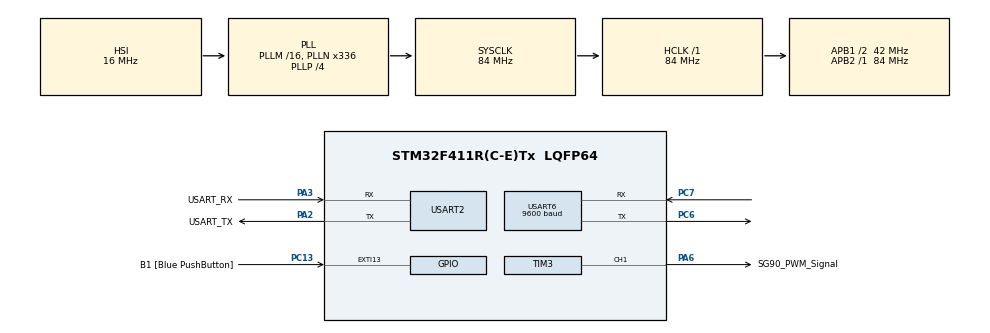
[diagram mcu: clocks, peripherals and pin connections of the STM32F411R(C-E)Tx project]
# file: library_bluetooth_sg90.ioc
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Mcu.Family=STM32F4
Mcu.Name=STM32F411R(C-E)Tx
Mcu.Package=LQFP64
NVIC.PriorityGroup=NVIC_PRIORITYGROUP_0
NVIC.USART2_IRQn=true\:0\:0\:false\:false\:true\:true\:true\:true
NVIC.USART6_IRQn=true\:0\:0\:false\:false\:true\:true\:true\:true
PA13.GPIO_Label=TMS
PA13.Mode=Serial_Wire
PA13.Signal=SYS_JTMS-SWDIO
PA14.GPIO_Label=TCK
PA14.Mode=Serial_Wire
PA14.Signal=SYS_JTCK-SWCLK
PA2.GPIO_Label=USART_TX
PA2.Mode=Asynchronous
PA2.Signal=USART2_TX
PA3.GPIO_Label=USART_RX
PA3.Mode=Asynchronous
PA3.Signal=USART2_RX
PA6.GPIO_Label=SG90_PWM_Signal
PA6.Signal=S_TIM3_CH1
PB3.GPIO_Label=SWO
PB3.Signal=SYS_JTDO-SWO
PC13-ANTI_TAMP.GPIO_Label=B1 [Blue PushButton]
PC13-ANTI_TAMP.GPIO_ModeDefaultEXTI=GPIO_MODE_IT_FALLING
PC13-ANTI_TAMP.Signal=GPXTI13
PC14-OSC32_IN.Mode=LSE-External-Oscillator
PC14-OSC32_IN.Signal=RCC_OSC32_IN
PC15-OSC32_OUT.Mode=LSE-External-Oscillator
PC15-OSC32_OUT.Signal=RCC_OSC32_OUT
PC6.Mode=Asynchronous
PC6.Signal=USART6_TX
PC7.Mode=Asynchronous
PC7.Signal=USART6_RX
PH0\ -\ OSC_IN.Mode=HSE-External-Clock-Source
PH0\ -\ OSC_IN.Signal=RCC_OSC_IN
PH1\ -\ OSC_OUT.Mode=HSE-External-Clock-Source
PH1\ -\ OSC_OUT.Signal=RCC_OSC_OUT
ProjectManager.HeapSize=0x200
ProjectManager.StackSize=0x400
ProjectManager.TargetToolchain=STM32CubeIDE
RCC.48MHZClocksFreq_Value=84000000
RCC.AHBFreq_Value=84000000
RCC.APB1CLKDivider=RCC_HCLK_DIV2
RCC.APB1Freq_Value=42000000
RCC.APB1TimFreq_Value=84000000
RCC.APB2Freq_Value=84000000
RCC.APB2TimFreq_Value=84000000
RCC.CortexFreq_Value=84000000
RCC.FLatency-AdvancedSettings=FLASH_LATENCY_2
RCC.HCLKFreq_Value=84000000
RCC.HSE_VALUE=8000000
RCC.HSI_VALUE=16000000
RCC.PLLN=336
RCC.PLLP=RCC_PLLP_DIV4
RCC.SYSCLKFreq_VALUE=84000000
RCC.SYSCLKSource=RCC_SYSCLKSOURCE_PLLCLK
RCC.VCOOutputFreq_Value=336000000
SH.S_TIM3_CH1.0=TIM3_CH1,PWM Generation1 CH1
TIM3.Channel-PWM\ Generation1\ CH1=TIM_CHANNEL_1
TIM3.Period=19999
TIM3.Prescaler=83
USART2.VirtualMode=VM_ASYNC
USART6.BaudRate=9600
USART6.VirtualMode=VM_ASYNC
VP_TIM3_VS_ClockSourceINT.Mode=Internal
board=NUCLEO-F411RE

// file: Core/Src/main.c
/* USER CODE BEGIN Header */
/**
  ******************************************************************************
  * @file           : main.c
  * @brief          : Main program body
  ******************************************************************************
  * @attention
  *
  * Copyright (c) 2024 STMicroelectronics.
  * All rights reserved.
  *
  * This software is licensed under terms that can be found in the LICENSE file
  * in the root directory of this software component.
  * If no LICENSE file comes with this software, it is provided AS-IS.
  *
  ******************************************************************************
  */
/* USER CODE END Header */
#include "main.h"

/* USER CODE BEGIN Includes */
#include <stdio.h>
#include <string.h>
/* USER CODE END Includes */

/* USER CODE BEGIN PD */
#ifdef __GNUC__
/* With GCC, small printf (option LD Linker->Libraries->Small printf
   set to 'Yes') calls __io_putchar() */
#define PUTCHAR_PROTOTYPE int __io_putchar(int ch)
#else
#define PUTCHAR_PROTOTYPE int fputc(int ch, FILE *f)
#endif /* __GNUC__ */
#define ARR_CNT 5
#define CMD_SIZE 50

/* USER CODE END PD */

TIM_HandleTypeDef htim3;

UART_HandleTypeDef huart2;
UART_HandleTypeDef huart6;

/* USER CODE BEGIN PV */
uint8_t rx2char;
volatile unsigned char rx2Flag = 0;
volatile char rx2Data[50];
volatile unsigned char btFlag = 0;
uint8_t btchar;
char btData[50];
/* USER CODE END PV */

void SystemClock_Config(void);
static void MX_GPIO_Init(void);
static void MX_USART2_UART_Init(void);
static void MX_USART6_UART_Init(void);
static void MX_TIM3_Init(void);
/* USER CODE BEGIN PFP */
void bluetooth_Event();
void SG90_SetAngle(int angle);
/* USER CODE END PFP */

int main(void)
{

  /* MCU Configuration--------------------------------------------------------*/

  /* Reset of all peripherals, Initializes the Flash interface and the Systick. */
  HAL_Init();

  /* Configure the system clock */
  SystemClock_Config();

  /* Initialize all configured peripherals */
  MX_GPIO_Init();
  MX_USART2_UART_Init();
  MX_USART6_UART_Init();
  MX_TIM3_Init();
  /* USER CODE BEGIN 2 */
  HAL_UART_Receive_IT(&huart2, &rx2char,1);
  HAL_UART_Receive_IT(&huart6, &btchar,1);
  HAL_TIM_PWM_Start(&htim3, TIM_CHANNEL_1); // ADDED: PWM 시작
  printf("start main2()\r\n");
//  char buf[10] = "Hello\r";
  /* USER CODE END 2 */

  /* Infinite loop */
  /* USER CODE BEGIN WHILE */
  while (1)
  {
	  if(rx2Flag)
	  {
			printf("recv2 : %s\r\n",rx2Data);
			rx2Flag =0;
	//	    HAL_UART_Transmit(&huart6, (uint8_t *)buf, strlen(buf), 0xFFFF);
	  }
	  if(btFlag)
	  {
//		printf("bt : %s\r\n",btData);
			btFlag =0;
			bluetooth_Event();
	  }
//	  HAL_GPIO_TogglePin(GPIOC, GPIO_PIN_13);
//	  HAL_Delay(500);

    /* USER CODE END WHILE */

  }
}

void SystemClock_Config(void)
{
  RCC_OscInitTypeDef RCC_OscInitStruct = {0};
  RCC_ClkInitTypeDef RCC_ClkInitStruct = {0};

  /** Configure the main internal regulator output voltage
  */
  __HAL_RCC_PWR_CLK_ENABLE();
  __HAL_PWR_VOLTAGESCALING_CONFIG(PWR_REGULATOR_VOLTAGE_SCALE1);

  /** Initializes the RCC Oscillators according to the specified parameters
  * in the RCC_OscInitTypeDef structure.
  */
  RCC_OscInitStruct.OscillatorType = RCC_OSCILLATORTYPE_HSI;
  RCC_OscInitStruct.HSIState = RCC_HSI_ON;
  RCC_OscInitStruct.HSICalibrationValue = RCC_HSICALIBRATION_DEFAULT;
  RCC_OscInitStruct.PLL.PLLState = RCC_PLL_ON;
  RCC_OscInitStruct.PLL.PLLSource = RCC_PLLSOURCE_HSI;
  RCC_OscInitStruct.PLL.PLLM = 16;
  RCC_OscInitStruct.PLL.PLLN = 336;
  RCC_OscInitStruct.PLL.PLLP = RCC_PLLP_DIV4;
  RCC_OscInitStruct.PLL.PLLQ = 4;
  if (HAL_RCC_OscConfig(&RCC_OscInitStruct) != HAL_OK)
  {
    Error_Handler();
  }

  /** Initializes the CPU, AHB and APB buses clocks
  */
  RCC_ClkInitStruct.ClockType = RCC_CLOCKTYPE_HCLK|RCC_CLOCKTYPE_SYSCLK
                              |RCC_CLOCKTYPE_PCLK1|RCC_CLOCKTYPE_PCLK2;
  RCC_ClkInitStruct.SYSCLKSource = RCC_SYSCLKSOURCE_PLLCLK;
  RCC_ClkInitStruct.AHBCLKDivider = RCC_SYSCLK_DIV1;
  RCC_ClkInitStruct.APB1CLKDivider = RCC_HCLK_DIV2;
  RCC_ClkInitStruct.APB2CLKDivider = RCC_HCLK_DIV1;

  if (HAL_RCC_ClockConfig(&RCC_ClkInitStruct, FLASH_LATENCY_2) != HAL_OK)
  {
    Error_Handler();
  }
}

static void MX_TIM3_Init(void)
{

  TIM_ClockConfigTypeDef sClockSourceConfig = {0};
  TIM_MasterConfigTypeDef sMasterConfig = {0};
  TIM_OC_InitTypeDef sConfigOC = {0};

  htim3.Instance = TIM3;
  htim3.Init.Prescaler = 83;
  htim3.Init.CounterMode = TIM_COUNTERMODE_UP;
  htim3.Init.Period = 19999;
  htim3.Init.ClockDivision = TIM_CLOCKDIVISION_DIV1;
  htim3.Init.AutoReloadPreload = TIM_AUTORELOAD_PRELOAD_DISABLE;
  if (HAL_TIM_Base_Init(&htim3) != HAL_OK)
  {
    Error_Handler();
  }
  sClockSourceConfig.ClockSource = TIM_CLOCKSOURCE_INTERNAL;
  if (HAL_TIM_ConfigClockSource(&htim3, &sClockSourceConfig) != HAL_OK)
  {
    Error_Handler();
  }
  if (HAL_TIM_PWM_Init(&htim3) != HAL_OK)
  {
    Error_Handler();
  }
  sMasterConfig.MasterOutputTrigger = TIM_TRGO_RESET;
  sMasterConfig.MasterSlaveMode = TIM_MASTERSLAVEMODE_DISABLE;
  if (HAL_TIMEx_MasterConfigSynchronization(&htim3, &sMasterConfig) != HAL_OK)
  {
    Error_Handler();
  }
  sConfigOC.OCMode = TIM_OCMODE_PWM1;
  sConfigOC.Pulse = 0;
  sConfigOC.OCPolarity = TIM_OCPOLARITY_HIGH;
  sConfigOC.OCFastMode = TIM_OCFAST_DISABLE;
  if (HAL_TIM_PWM_ConfigChannel(&htim3, &sConfigOC, TIM_CHANNEL_1) != HAL_OK)
  {
    Error_Handler();
  }
  HAL_TIM_MspPostInit(&htim3);

}

static void MX_USART2_UART_Init(void)
{

  huart2.Instance = USART2;
  huart2.Init.BaudRate = 115200;
  huart2.Init.WordLength = UART_WORDLENGTH_8B;
  huart2.Init.StopBits = UART_STOPBITS_1;
  huart2.Init.Parity = UART_PARITY_NONE;
  huart2.Init.Mode = UART_MODE_TX_RX;
  huart2.Init.HwFlowCtl = UART_HWCONTROL_NONE;
  huart2.Init.OverSampling = UART_OVERSAMPLING_16;
  if (HAL_UART_Init(&huart2) != HAL_OK)
  {
    Error_Handler();
  }

}

static void MX_USART6_UART_Init(void)
{

  huart6.Instance = USART6;
  huart6.Init.BaudRate = 9600;
  huart6.Init.WordLength = UART_WORDLENGTH_8B;
  huart6.Init.StopBits = UART_STOPBITS_1;
  huart6.Init.Parity = UART_PARITY_NONE;
  huart6.Init.Mode = UART_MODE_TX_RX;
  huart6.Init.HwFlowCtl = UART_HWCONTROL_NONE;
  huart6.Init.OverSampling = UART_OVERSAMPLING_16;
  if (HAL_UART_Init(&huart6) != HAL_OK)
  {
    Error_Handler();
  }

}

static void MX_GPIO_Init(void)
{
  GPIO_InitTypeDef GPIO_InitStruct = {0};

  /* GPIO Ports Clock Enable */
  __HAL_RCC_GPIOC_CLK_ENABLE();
  __HAL_RCC_GPIOH_CLK_ENABLE();
  __HAL_RCC_GPIOA_CLK_ENABLE();
  __HAL_RCC_GPIOB_CLK_ENABLE();

  /*Configure GPIO pin : B1_Pin */
  GPIO_InitStruct.Pin = B1_Pin;
  GPIO_InitStruct.Mode = GPIO_MODE_IT_FALLING;
  GPIO_InitStruct.Pull = GPIO_NOPULL;
  HAL_GPIO_Init(B1_GPIO_Port, &GPIO_InitStruct);

}

/* USER CODE BEGIN 4 */

void SG90_SetAngle(int angle)
{
    float pulse_width = ((float)angle / 180.0f) * 2000.0f + 500.0f;
    __HAL_TIM_SET_COMPARE(&htim3, TIM_CHANNEL_1, (uint32_t)pulse_width);
}

void bluetooth_Event()
{

  int i=0;
  char * pToken;
  char * pArray[ARR_CNT]={0};
  char recvBuf[CMD_SIZE]={0};
  char sendBuf[CMD_SIZE]={0};
  strcpy(recvBuf,btData);

  printf("btData : %s\r\n",btData);

  pToken = strtok(recvBuf,"[@]");
  while(pToken != NULL)
  {
    pArray[i] =  pToken;
    if(++i >= ARR_CNT)
      break;
    pToken = strtok(NULL,"[@]");
  }
//  printf("pArray[0] : %s\r\n",pArray[0]);
//  printf("pArray[1] : %s\r\n",pArray[1]);
//  printf("pArray[2] : %s\r\n",pArray[2]);

  if (!strcmp(pArray[1], "DOOR"))
   {
       if (!strcmp(pArray[2], "OPEN"))
       {
           SG90_SetAngle(0); //

       }
       else if(!strcmp(pArray[2], "CLOSE"))
       {
    	   SG90_SetAngle(150); //
       }
   }

  else if(!strncmp(pArray[1]," New conn",sizeof(" New conn")))
  {
      return;
  }
  else if(!strncmp(pArray[1]," Already log",sizeof(" Already log")))
  {
      return;
  }
  else
      return;

  sprintf(sendBuf,"[%s]%s@%s\n",pArray[0],pArray[1],pArray[2]);
  HAL_UART_Transmit(&huart6, (uint8_t *)sendBuf, strlen(sendBuf), 0xFFFF);

}
/**
  * @brief  Retargets the C library printf function to the USART.
  * @param  None
  * @retval None
  */
PUTCHAR_PROTOTYPE
{
  /* Place your implementation of fputc here */
  /* e.g. write a character to the USART6 and Loop until the end of transmission */
  HAL_UART_Transmit(&huart2, (uint8_t *)&ch, 1, 0xFFFF);

  return ch;
}
void HAL_UART_RxCpltCallback(UART_HandleTypeDef *huart)
{
    if(huart->Instance == USART2)
    {
    	static int i=0;
    	rx2Data[i] = rx2char;
    	if((rx2Data[i] == '\r')||(btData[i] == '\n'))
    	{
    		rx2Data[i] = '\0';
    		rx2Flag = 1;
    		i = 0;
    	}
    	else
    	{
    		i++;
    	}
    	HAL_UART_Receive_IT(&huart2, &rx2char,1);
    }
    if(huart->Instance == USART6)
    {
    	static int i=0;
    	btData[i] = btchar;
    	if((btData[i] == '\n') || btData[i] == '\r')
    	{
    		btData[i] = '\0';
    		btFlag = 1;
    		i = 0;
    	}
    	else
    	{
    		i++;
    	}
    	HAL_UART_Receive_IT(&huart6, &btchar,1);
    }
}
/* USER CODE END 4 */

void Error_Handler(void)
{
  __disable_irq();
  while (1)
  {
  }
}
